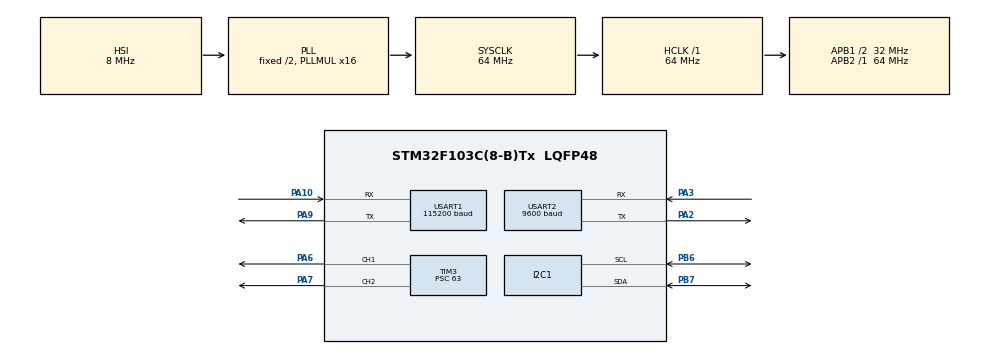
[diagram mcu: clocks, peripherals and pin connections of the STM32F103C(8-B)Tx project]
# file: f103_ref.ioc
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FREERTOS.Tasks01=defaultTask,24,256,StartDefaultTask,Default,NULL,Dynamic,NULL,NULL
FREERTOS.configTOTAL_HEAP_SIZE=8192
Mcu.Family=STM32F1
Mcu.Name=STM32F103C(8-B)Tx
Mcu.Package=LQFP48
NVIC.PriorityGroup=NVIC_PRIORITYGROUP_4
NVIC.TIM2_IRQn=true\:5\:0\:false\:false\:true\:false\:false\:true\:true
NVIC.TIM4_IRQn=true\:15\:0\:false\:false\:true\:false\:false\:true\:true
NVIC.TimeBase=TIM4_IRQn
NVIC.TimeBaseIP=TIM4
PA10.Mode=Asynchronous
PA10.Signal=USART1_RX
PA13.Mode=Serial_Wire
PA13.Signal=SYS_JTMS-SWDIO
PA14.Mode=Serial_Wire
PA14.Signal=SYS_JTCK-SWCLK
PA2.Mode=Asynchronous
PA2.Signal=USART2_TX
PA3.Mode=Asynchronous
PA3.Signal=USART2_RX
PA6.Signal=S_TIM3_CH1
PA7.Signal=S_TIM3_CH2
PA9.Mode=Asynchronous
PA9.Signal=USART1_TX
PB6.Mode=I2C
PB6.Signal=I2C1_SCL
PB7.Mode=I2C
PB7.Signal=I2C1_SDA
ProjectManager.HeapSize=0x200
ProjectManager.StackSize=0x400
ProjectManager.TargetToolchain=CMake
RCC.AHBFreq_Value=64000000
RCC.APB1CLKDivider=RCC_HCLK_DIV2
RCC.APB1Freq_Value=32000000
RCC.APB1TimFreq_Value=64000000
RCC.APB2Freq_Value=64000000
RCC.APB2TimFreq_Value=64000000
RCC.HCLKFreq_Value=64000000
RCC.PLLMUL=RCC_PLL_MUL16
RCC.PLLSourceVirtual=RCC_PLLSOURCE_HSI_DIV2
RCC.SYSCLKFreq_VALUE=64000000
RCC.SYSCLKSource=RCC_SYSCLKSOURCE_PLLCLK
RCC.USBFreq_Value=64000000
SH.S_TIM3_CH1.0=TIM3_CH1,PWM Generation1 CH1
SH.S_TIM3_CH2.0=TIM3_CH2,PWM Generation2 CH2
TIM2.Period=9999
TIM2.Prescaler=63
TIM3.Channel-PWM\ Generation1\ CH1=TIM_CHANNEL_1
TIM3.Channel-PWM\ Generation2\ CH2=TIM_CHANNEL_2
TIM3.Period=19999
TIM3.Prescaler=63
TIM3.Pulse-PWM\ Generation1\ CH1=1500
TIM3.Pulse-PWM\ Generation2\ CH2=1500
USART1.BaudRate=115200
USART1.VirtualMode=VM_ASYNC
USART2.BaudRate=9600
USART2.VirtualMode=VM_ASYNC
VP_FREERTOS_VS_CMSIS_V2.Mode=CMSIS_V2
VP_SYS_VS_tim4.Mode=TIM4
VP_TIM2_VS_ClockSourceINT.Mode=Internal
VP_TIM3_VS_ClockSourceINT.Mode=Internal
board=custom

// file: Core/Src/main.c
/* USER CODE BEGIN Header */
/**
  ******************************************************************************
  * @file           : main.c
  * @brief          : Main program body
  ******************************************************************************
  * @attention
  *
  * Copyright (c) 2026 STMicroelectronics.
  * All rights reserved.
  *
  * This software is licensed under terms that can be found in the LICENSE file
  * in the root directory of this software component.
  * If no LICENSE file comes with this software, it is provided AS-IS.
  *
  ******************************************************************************
  */
/* USER CODE END Header */
#include "main.h"
#include "cmsis_os.h"

/* USER CODE BEGIN Includes */
#include "gimbal_observe.h"
#include "gimbal_status.h"
#include "main.h"
#include "cmsis_os2.h"
#include "FreeRTOS.h"
#include "queue.h"
#include "module/gyro_bias.h"
#include "module/attitude.h"
#include "gimbal_control.h"
#include <stdio.h>
#include <math.h>
/* USER CODE END Includes */

/* USER CODE BEGIN PTD */
typedef struct {
    uint32_t state;
    uint32_t enabled;
    uint32_t ready;
    int32_t feedback_mdeg;
    uint32_t pulse_us;
    uint32_t last_fault;
} AxisReport;

typedef struct {
    uint32_t sample_ms;
    int32_t delta_mdeg;
    int32_t accel[3];
    int32_t rate_mdps[3];
} ImuJumpReport;

typedef struct {
    uint32_t count;
    uint32_t errors;
    uint32_t dt_min;
    uint32_t dt_max;
    uint32_t dt_bad_total;
    uint32_t dt_last_bad;
    uint32_t dt_bad_at_sample;
    uint32_t servo_state;
    uint32_t servo_pulse;
    uint32_t missed;
    uint32_t calibration_ready;
    uint32_t calibration_count;
    uint32_t attitude_status;
    int32_t angle_mdeg[3];
    int32_t bias[3];
    int32_t rate_mdeg[3];
    int32_t accel[3];
    int32_t gyro[3];
    AxisReport pitch_axis;
    AxisReport yaw_axis;
    uint32_t correction_gain_milli;
    uint32_t filter_status;
    uint32_t filter_count;
    uint32_t device_sample_ms;
    int32_t pitch_target_mdeg;
    uint32_t pitch_step_status;
    uint32_t pitch_target_apply_count;
    uint32_t pitch_target_apply_ms;
    int32_t yaw_target_mdeg;
    uint32_t yaw_target_apply_count;
    uint32_t yaw_target_apply_ms;
    ImuJumpReport jump;
} ImuReport;

typedef struct {
    uint32_t sample_ms;
    int16_t angle_cdeg[3];
    uint16_t sequence;
    uint8_t flags;
} FastReport;
/* USER CODE END PTD */

/* USER CODE BEGIN PD */
/* Pitch axis calibration, measured on the assembled gimbal:
   - 1500 us is the level position. The mechanical lower stop sits just
     below it, so never command less than GIMBAL_PITCH_ZERO_US.
   - 2500 us lifts the platform 84 deg; this is the conservative limit
     (the servo's nominal range ends here).
   - Effective gain above the ~100 us linkage slack: ~0.093 deg/us.
   - Servo dead band: ~20 us (~1.9 deg). */
#define GIMBAL_PITCH_ZERO_US  1500U
#define GIMBAL_PITCH_MAX_US   2500U
/* USER CODE END PD */

I2C_HandleTypeDef hi2c1;

TIM_HandleTypeDef htim2;
TIM_HandleTypeDef htim3;

UART_HandleTypeDef huart1;
UART_HandleTypeDef huart2;

/* Definitions for defaultTask */
osThreadId_t defaultTaskHandle;
const osThreadAttr_t defaultTask_attributes = {
  .name = "defaultTask",
  .stack_size = 256 * 4,
  .priority = (osPriority_t) osPriorityNormal,
};
/* USER CODE BEGIN PV */
extern UART_HandleTypeDef huart1;

extern I2C_HandleTypeDef hi2c1;
extern UART_HandleTypeDef huart2;

volatile uint8_t imu_id = 0xFFU;
volatile uint8_t imu_power = 0xFFU;
volatile uint32_t imu_init_status = HAL_ERROR;
volatile uint32_t imu_read_status = HAL_ERROR;
volatile uint32_t imu_sample_count = 0U;
volatile uint32_t imu_error_count = 0U;

volatile int32_t imu_ax, imu_ay, imu_az;
volatile int32_t imu_gx, imu_gy, imu_gz;

volatile uint32_t gimbal_heartbeat_count = 0U;
volatile uint32_t gimbal_tick_hz = 0U;

extern TIM_HandleTypeDef htim2;
extern TIM_HandleTypeDef htim3;

volatile uint32_t servo_test_allowed = 0U;
volatile uint32_t servo_test_state = GIMBAL_AXIS_IDLE;
volatile uint32_t servo_test_pulse = 1500U;

static osSemaphoreId_t sample_semaphore;
static QueueHandle_t report_queue;
static QueueHandle_t fast_queue;
volatile uint32_t fast_drop_count = 0U;
volatile uint32_t fast_sent_count = 0U;

static GyroBias gyro_calibration;

static Attitude attitude_state = {
    .correction_gain = 2.0F
};

volatile uint32_t sample_trigger_overflow = 0U;
volatile uint32_t report_drop_count = 0U;
/* Temporary fault injection: 0=none, 1=inhibit, 2=invalid dt. */
volatile uint32_t gimbal_test_fault = 0U;
volatile uint32_t imu_last_i2c_error = 0U;
/* Corrected gyro mean, unit: 0.001 degree/second. */
volatile int32_t gyro_mean_mdps[3] = {0, 0, 0};
volatile uint32_t gyro_mean_window_count = 0U;

volatile uint32_t gyro_recalibrate_request = 0U;
volatile uint32_t gyro_recalibration_status = 0U;

extern volatile uint32_t pitch_test_state;
extern volatile uint32_t pitch_zero_ready;
extern volatile uint32_t yaw_reference_ready;

static uint32_t gyro_mean_restart = 0U;
/* USER CODE END PV */

void SystemClock_Config(void);
static void MX_GPIO_Init(void);
static void MX_TIM2_Init(void);
static void MX_TIM3_Init(void);
static void MX_USART1_UART_Init(void);
static void MX_I2C1_Init(void);
static void MX_USART2_UART_Init(void);
void StartDefaultTask(void *argument);

/* USER CODE BEGIN PFP */
void run_f103_servo_demo(UART_HandleTypeDef* uart_handle,
                         TIM_HandleTypeDef* timer_handle);
void gimbal_sample_timer_irq(void);
static void GimbalTelemetryTask(void *argument);
void gimbal_servo_test_task(void *argument);
int gimbal_pitch_init(void);
void gimbal_pitch_tick(void *argument,
                       float roll_deg,
                       float dt_seconds);
void gimbal_yaw_tick(void *argument,
                     float yaw_deg,
                     float dt_seconds);
/* USER CODE END PFP */

/* USER CODE BEGIN 0 */
/* MPU6050 的原始数据是 16 位有符号、大端 */
static int32_t imu_decode_be(const uint8_t *bytes)
{
    uint32_t value = ((uint32_t)bytes[0] << 8) | bytes[1];

    return value >= 32768U
        ? (int32_t)value - 65536
        : (int32_t)value;
}
/* USER CODE END 0 */

int main(void)
{

  /* MCU Configuration--------------------------------------------------------*/

  /* Reset of all peripherals, Initializes the Flash interface and the Systick. */
  HAL_Init();

  /* Configure the system clock */
  SystemClock_Config();

  /* Initialize all configured peripherals */
  MX_GPIO_Init();
  MX_TIM2_Init();
  MX_TIM3_Init();
  MX_USART1_UART_Init();
  MX_I2C1_Init();
  MX_USART2_UART_Init();

  /* Init scheduler */
  osKernelInitialize();

  /* Create the thread(s) */
  /* creation of defaultTask */
  defaultTaskHandle = osThreadNew(StartDefaultTask, NULL, &defaultTask_attributes);

  /* Start scheduler */
  osKernelStart();

  /* We should never get here as control is now taken by the scheduler */

  /* Infinite loop */
  while (1)
  {

  }
}

void SystemClock_Config(void)
{
  RCC_OscInitTypeDef RCC_OscInitStruct = {0};
  RCC_ClkInitTypeDef RCC_ClkInitStruct = {0};

  /** Initializes the RCC Oscillators according to the specified parameters
  * in the RCC_OscInitTypeDef structure.
  */
  RCC_OscInitStruct.OscillatorType = RCC_OSCILLATORTYPE_HSI;
  RCC_OscInitStruct.HSIState = RCC_HSI_ON;
  RCC_OscInitStruct.HSICalibrationValue = RCC_HSICALIBRATION_DEFAULT;
  RCC_OscInitStruct.PLL.PLLState = RCC_PLL_ON;
  RCC_OscInitStruct.PLL.PLLSource = RCC_PLLSOURCE_HSI_DIV2;
  RCC_OscInitStruct.PLL.PLLMUL = RCC_PLL_MUL16;
  if (HAL_RCC_OscConfig(&RCC_OscInitStruct) != HAL_OK)
  {
    Error_Handler();
  }

  /** Initializes the CPU, AHB and APB buses clocks
  */
  RCC_ClkInitStruct.ClockType = RCC_CLOCKTYPE_HCLK|RCC_CLOCKTYPE_SYSCLK
                              |RCC_CLOCKTYPE_PCLK1|RCC_CLOCKTYPE_PCLK2;
  RCC_ClkInitStruct.SYSCLKSource = RCC_SYSCLKSOURCE_PLLCLK;
  RCC_ClkInitStruct.AHBCLKDivider = RCC_SYSCLK_DIV1;
  RCC_ClkInitStruct.APB1CLKDivider = RCC_HCLK_DIV2;
  RCC_ClkInitStruct.APB2CLKDivider = RCC_HCLK_DIV1;

  if (HAL_RCC_ClockConfig(&RCC_ClkInitStruct, FLASH_LATENCY_2) != HAL_OK)
  {
    Error_Handler();
  }
}

static void MX_I2C1_Init(void)
{

  hi2c1.Instance = I2C1;
  hi2c1.Init.ClockSpeed = 100000;
  hi2c1.Init.DutyCycle = I2C_DUTYCYCLE_2;
  hi2c1.Init.OwnAddress1 = 0;
  hi2c1.Init.AddressingMode = I2C_ADDRESSINGMODE_7BIT;
  hi2c1.Init.DualAddressMode = I2C_DUALADDRESS_DISABLE;
  hi2c1.Init.OwnAddress2 = 0;
  hi2c1.Init.GeneralCallMode = I2C_GENERALCALL_DISABLE;
  hi2c1.Init.NoStretchMode = I2C_NOSTRETCH_DISABLE;
  if (HAL_I2C_Init(&hi2c1) != HAL_OK)
  {
    Error_Handler();
  }

}

static void MX_TIM2_Init(void)
{

  TIM_ClockConfigTypeDef sClockSourceConfig = {0};
  TIM_MasterConfigTypeDef sMasterConfig = {0};

  htim2.Instance = TIM2;
  htim2.Init.Prescaler = 63;
  htim2.Init.CounterMode = TIM_COUNTERMODE_UP;
  htim2.Init.Period = 9999;
  htim2.Init.ClockDivision = TIM_CLOCKDIVISION_DIV1;
  htim2.Init.AutoReloadPreload = TIM_AUTORELOAD_PRELOAD_DISABLE;
  if (HAL_TIM_Base_Init(&htim2) != HAL_OK)
  {
    Error_Handler();
  }
  sClockSourceConfig.ClockSource = TIM_CLOCKSOURCE_INTERNAL;
  if (HAL_TIM_ConfigClockSource(&htim2, &sClockSourceConfig) != HAL_OK)
  {
    Error_Handler();
  }
  sMasterConfig.MasterOutputTrigger = TIM_TRGO_RESET;
  sMasterConfig.MasterSlaveMode = TIM_MASTERSLAVEMODE_DISABLE;
  if (HAL_TIMEx_MasterConfigSynchronization(&htim2, &sMasterConfig) != HAL_OK)
  {
    Error_Handler();
  }

}

static void MX_TIM3_Init(void)
{

  TIM_ClockConfigTypeDef sClockSourceConfig = {0};
  TIM_MasterConfigTypeDef sMasterConfig = {0};
  TIM_OC_InitTypeDef sConfigOC = {0};

  htim3.Instance = TIM3;
  htim3.Init.Prescaler = 63;
  htim3.Init.CounterMode = TIM_COUNTERMODE_UP;
  htim3.Init.Period = 19999;
  htim3.Init.ClockDivision = TIM_CLOCKDIVISION_DIV1;
  htim3.Init.AutoReloadPreload = TIM_AUTORELOAD_PRELOAD_DISABLE;
  if (HAL_TIM_Base_Init(&htim3) != HAL_OK)
  {
    Error_Handler();
  }
  sClockSourceConfig.ClockSource = TIM_CLOCKSOURCE_INTERNAL;
  if (HAL_TIM_ConfigClockSource(&htim3, &sClockSourceConfig) != HAL_OK)
  {
    Error_Handler();
  }
  if (HAL_TIM_PWM_Init(&htim3) != HAL_OK)
  {
    Error_Handler();
  }
  sMasterConfig.MasterOutputTrigger = TIM_TRGO_RESET;
  sMasterConfig.MasterSlaveMode = TIM_MASTERSLAVEMODE_DISABLE;
  if (HAL_TIMEx_MasterConfigSynchronization(&htim3, &sMasterConfig) != HAL_OK)
  {
    Error_Handler();
  }
  sConfigOC.OCMode = TIM_OCMODE_PWM1;
  sConfigOC.Pulse = 1500;
  sConfigOC.OCPolarity = TIM_OCPOLARITY_HIGH;
  sConfigOC.OCFastMode = TIM_OCFAST_DISABLE;
  if (HAL_TIM_PWM_ConfigChannel(&htim3, &sConfigOC, TIM_CHANNEL_1) != HAL_OK)
  {
    Error_Handler();
  }
  if (HAL_TIM_PWM_ConfigChannel(&htim3, &sConfigOC, TIM_CHANNEL_2) != HAL_OK)
  {
    Error_Handler();
  }
  HAL_TIM_MspPostInit(&htim3);

}

static void MX_USART1_UART_Init(void)
{

  huart1.Instance = USART1;
  huart1.Init.BaudRate = 115200;
  huart1.Init.WordLength = UART_WORDLENGTH_8B;
  huart1.Init.StopBits = UART_STOPBITS_1;
  huart1.Init.Parity = UART_PARITY_NONE;
  huart1.Init.Mode = UART_MODE_TX_RX;
  huart1.Init.HwFlowCtl = UART_HWCONTROL_NONE;
  huart1.Init.OverSampling = UART_OVERSAMPLING_16;
  if (HAL_UART_Init(&huart1) != HAL_OK)
  {
    Error_Handler();
  }

}

static void MX_USART2_UART_Init(void)
{

  huart2.Instance = USART2;
  huart2.Init.BaudRate = 9600;
  huart2.Init.WordLength = UART_WORDLENGTH_8B;
  huart2.Init.StopBits = UART_STOPBITS_1;
  huart2.Init.Parity = UART_PARITY_NONE;
  huart2.Init.Mode = UART_MODE_TX_RX;
  huart2.Init.HwFlowCtl = UART_HWCONTROL_NONE;
  huart2.Init.OverSampling = UART_OVERSAMPLING_16;
  if (HAL_UART_Init(&huart2) != HAL_OK)
  {
    Error_Handler();
  }

}

static void MX_GPIO_Init(void)
{

  /* GPIO Ports Clock Enable */
  __HAL_RCC_GPIOA_CLK_ENABLE();
  __HAL_RCC_GPIOB_CLK_ENABLE();

}

/* USER CODE BEGIN 4 */
void gimbal_sample_timer_irq(void)
{
    if (sample_semaphore != NULL) {
        if (osSemaphoreRelease(sample_semaphore) != osOK) {
            ++sample_trigger_overflow;
        }
    }
}

static void telemetry_send(uint8_t *data, uint16_t length)
{
    HAL_StatusTypeDef tx = HAL_BUSY;
    for (unsigned attempt = 0U; attempt < 5U; ++attempt) {
        tx = HAL_UART_Transmit(&huart2, data, length, 1000U);
        if (tx != HAL_BUSY) {
            break;
        }
        (void)osDelay(5U);
    }
    if (tx != HAL_OK) {
        Error_Handler();
    }
}

static void fast_put_le(uint8_t *out, uint32_t value,
                        unsigned width)
{
    for (unsigned i = 0U; i < width; ++i) {
        out[i] = (uint8_t)(value >> (8U * i));
    }
}

static void telemetry_send_fast(const FastReport *frame)
{
    uint8_t packet[18] = {0xA5U, 0x5AU, 1U};
    packet[3] = frame->flags;
    fast_put_le(packet + 4, frame->sequence, 2U);
    fast_put_le(packet + 6, frame->sample_ms, 4U);

    for (unsigned i = 0U; i < 3U; ++i) {
        fast_put_le(packet + 10U + i * 2U,
                    (uint16_t)frame->angle_cdeg[i], 2U);
    }

    uint16_t crc = 0xFFFFU;
    for (unsigned i = 0U; i < 16U; ++i) {
        crc ^= (uint16_t)((uint16_t)packet[i] << 8);
        for (unsigned bit = 0U; bit < 8U; ++bit) {
            if ((crc & 0x8000U) != 0U) {
                crc = (uint16_t)((crc << 1) ^ 0x1021U);
            } else {
                crc = (uint16_t)(crc << 1);
            }
        }
    }

    fast_put_le(packet + 16, crc, 2U);
    telemetry_send(packet, sizeof(packet));
    ++fast_sent_count;
}

static void GimbalTelemetryTask(void *argument)
{
    (void)argument;
    ImuReport report;
    FastReport fast;
    char line[640];

    for (;;) {
        if (xQueueReceive(fast_queue, &fast,
                          portMAX_DELAY) != pdPASS) {
            Error_Handler();
        }
        telemetry_send_fast(&fast);

        if (xQueueReceive(report_queue, &report, 0U) != pdPASS) {
            continue;
        }

        int length = snprintf(
            line, sizeof(line),
            "N=%lu T=%lu ERR=%lu DT=%lu..%lu MISS=%lu "
            "BAD=%lu LAST=%lu AT=%lu "
            "SV=%lu US=%lu CAL=%lu ATT=%lu "
            "RPY=%ld,%ld,%ld "
            "P=%lu,%lu,%lu,%ld,%lu,%lu "
            "Y=%lu,%lu,%lu,%ld,%lu,%lu "
            "K=%lu KS=%lu,%lu PT=%ld PS=%lu,%lu,%lu "
            "J=%lu,%ld,%ld,%ld,%ld,%ld,%ld,%ld "
            "YT=%ld YA=%lu\r\n",
            (unsigned long)report.count,
            (unsigned long)report.device_sample_ms,
            (unsigned long)report.errors,
            (unsigned long)report.dt_min,
            (unsigned long)report.dt_max,
            (unsigned long)report.missed,
            (unsigned long)report.dt_bad_total,
            (unsigned long)report.dt_last_bad,
            (unsigned long)report.dt_bad_at_sample,
            (unsigned long)report.servo_state,
            (unsigned long)report.servo_pulse,
            (unsigned long)report.calibration_ready,
            (unsigned long)report.attitude_status,
            (long)report.angle_mdeg[0],
            (long)report.angle_mdeg[1],
            (long)report.angle_mdeg[2],
            (unsigned long)report.pitch_axis.state,
            (unsigned long)report.pitch_axis.enabled,
            (unsigned long)report.pitch_axis.ready,
            (long)report.pitch_axis.feedback_mdeg,
            (unsigned long)report.pitch_axis.pulse_us,
            (unsigned long)report.pitch_axis.last_fault,
            (unsigned long)report.yaw_axis.state,
            (unsigned long)report.yaw_axis.enabled,
            (unsigned long)report.yaw_axis.ready,
            (long)report.yaw_axis.feedback_mdeg,
            (unsigned long)report.yaw_axis.pulse_us,
            (unsigned long)report.yaw_axis.last_fault,
            (unsigned long)report.correction_gain_milli,
            (unsigned long)report.filter_status,
            (unsigned long)report.filter_count,
            (long)report.pitch_target_mdeg,
            (unsigned long)report.pitch_step_status,
            (unsigned long)report.pitch_target_apply_count,
            (unsigned long)report.pitch_target_apply_ms,
            (unsigned long)report.jump.sample_ms,
            (long)report.jump.delta_mdeg,
            (long)report.jump.rate_mdps[0],
            (long)report.jump.rate_mdps[1],
            (long)report.jump.rate_mdps[2],
            (long)report.jump.accel[0],
            (long)report.jump.accel[1],
            (long)report.jump.accel[2],
            (long)report.yaw_target_mdeg,
            (unsigned long)report.yaw_target_apply_count);

        if (length <= 0 || length >= (int)sizeof(line)) {
            Error_Handler();
        }
        telemetry_send((uint8_t *)line, (uint16_t)length);
    }
}
/* USER CODE END 4 */

void StartDefaultTask(void *argument)
{
    (void)argument;
    const uint16_t address = 0x68U << 1;
    uint8_t id = 0xFFU;
    uint8_t power = 0xFFU;
    uint8_t wake = 0x00U;
    uint8_t raw[14];
    uint32_t report_divider = 0U;
    uint32_t sample_time_ms = 0U;
    uint32_t fast_divider = 0U;
    uint16_t fast_sequence = 0U;
    ImuJumpReport jump_report = {0};
    uint32_t previous_tick = 0U;
    uint32_t dt_min = UINT32_MAX;
    uint32_t dt_max = 0U;
    uint32_t dt_bad_total = 0U;
    uint32_t dt_last_bad = 0U;
    uint32_t dt_bad_at_sample = 0U;
    uint8_t have_previous_tick = 0U;
    const uint32_t imu_warmup_start_tick =
        osKernelGetTickCount();

    gimbal_tick_hz = osKernelGetTickFreq();
    if (gimbal_tick_hz != 1000U) {
        Error_Handler();
    }

    osDelay(100U);
    HAL_StatusTypeDef status = HAL_I2C_Mem_Read(
        &hi2c1, address, 0x75U, I2C_MEMADD_SIZE_8BIT,
        &id, 1U, 20U);
    imu_id = id;

    if (status == HAL_OK && (id == 0x68U || id == 0x74U)) {
        status = HAL_I2C_Mem_Write(
            &hi2c1, address, 0x6BU, I2C_MEMADD_SIZE_8BIT,
            &wake, 1U, 20U);
        if (status == HAL_OK) {
            osDelay(100U);
            status = HAL_I2C_Mem_Read(
                &hi2c1, address, 0x6BU, I2C_MEMADD_SIZE_8BIT,
                &power, 1U, 20U);
        }
    } else {
        status = HAL_ERROR;
    }

    imu_power = power;
    imu_init_status = status;
    const uint8_t ready =
        status == HAL_OK && (power & 0x40U) == 0U;

    if (!ready) {
        Error_Handler();
    }

    const uint8_t registers[] = {0x1BU, 0x1CU, 0x6CU};

    for (unsigned i = 0U; i < sizeof(registers); ++i) {
        uint8_t value = 0x00U;
        uint8_t readback = 0xFFU;

        if (HAL_I2C_Mem_Write(
                &hi2c1, address, registers[i],
                I2C_MEMADD_SIZE_8BIT, &value, 1U, 20U) != HAL_OK) {
            Error_Handler();
        }

        if (HAL_I2C_Mem_Read(
                &hi2c1, address, registers[i],
                I2C_MEMADD_SIZE_8BIT, &readback, 1U, 20U) != HAL_OK
            || readback != value) {
            Error_Handler();
        }
    }

    osDelay(100U);

    sample_semaphore = osSemaphoreNew(1U, 0U, NULL);
    report_queue = xQueueCreate(2U, sizeof(ImuReport));
    fast_queue = xQueueCreate(16U, sizeof(FastReport));

    if (sample_semaphore == NULL || report_queue == NULL ||
        fast_queue == NULL) {
        Error_Handler();
    }

    const osThreadAttr_t telemetry_attributes = {
        .name = "gimbal_telemetry",
        .stack_size = 2048U,
        .priority = osPriorityLow
    };

    if (osThreadNew(GimbalTelemetryTask, NULL,
                    &telemetry_attributes) == NULL) {
        Error_Handler();
    }

    if (!gimbal_pitch_init()) {
        Error_Handler();
    }

    const osThreadAttr_t servo_test_attributes = {
        .name = "servo_test",
        .stack_size = 1024U,
        /* Must stay below the telemetry task: HAL_UART_Receive busy-waits
           and would otherwise starve it. */
        .priority = osPriorityIdle
    };

    if (osThreadNew(gimbal_servo_test_task, &htim3,
                    &servo_test_attributes) == NULL) {
        Error_Handler();
    }

    __HAL_TIM_SET_COUNTER(&htim2, 0U);
    __HAL_TIM_CLEAR_FLAG(&htim2, TIM_FLAG_UPDATE);

    if (HAL_TIM_Base_Start_IT(&htim2) != HAL_OK) {
        Error_Handler();
    }

    for (;;) {
        if (osSemaphoreAcquire(
                sample_semaphore, osWaitForever) != osOK) {
            Error_Handler();
        }

        uint32_t now = osKernelGetTickCount();
        const uint32_t elapsed_ticks =
            have_previous_tick ? now - previous_tick : 10U;
        if (have_previous_tick) {
            uint32_t dt = now - previous_tick;

            if (dt < dt_min) dt_min = dt;
            if (dt > dt_max) dt_max = dt;

            if (dt != 10U) {
                ++dt_bad_total;
                dt_last_bad = dt;
                dt_bad_at_sample = imu_sample_count + 1U;
            }
        }
        previous_tick = now;
        have_previous_tick = 1U;

        if (gyro_recalibrate_request) {
            gyro_recalibrate_request = 0U;

            if (pitch_test_state == GIMBAL_AXIS_RUNNING ||
                servo_test_state == GIMBAL_AXIS_RUNNING) {
                gyro_recalibration_status = 2U;
            } else if ((uint32_t)(
                    osKernelGetTickCount() - imu_warmup_start_tick)
                    < 30U * gimbal_tick_hz) {
                gyro_recalibration_status = 3U;
            } else {
                gyro_bias_reset(&gyro_calibration);
                const float preserved_gain =
                    attitude_state.correction_gain;

                attitude_state =
                    (Attitude){.correction_gain = preserved_gain};

                pitch_zero_ready = 0U;
                yaw_reference_ready = 0U;
                gyro_mean_restart = 1U;
                gyro_mean_window_count = 0U;
                gyro_mean_mdps[0] = 0;
                gyro_mean_mdps[1] = 0;
                gyro_mean_mdps[2] = 0;

                gyro_recalibration_status = 4U;
            }
        }

        uint32_t requested_gain_milli = 0U;
        const int parameter_rx =
            gimbal_filter_take_request(&requested_gain_milli);

        if (parameter_rx < 0) {
            filter_apply_status = GIMBAL_PARAM_TRANSPORT_ERROR;
        } else if (parameter_rx > 0) {
            if (requested_gain_milli > 20000U) {
                filter_apply_status = GIMBAL_PARAM_OUT_OF_RANGE;
            } else if (!gyro_calibration.ready ||
                       attitude_state.status != 1U) {
                filter_apply_status = GIMBAL_PARAM_NOT_READY;
            } else {
                attitude_state.correction_gain =
                    requested_gain_milli / 1000.0F;
                ++filter_apply_count;
                filter_apply_status = GIMBAL_PARAM_APPLIED;
            }
        }

        uint16_t sample_address = address;

#if GIMBAL_ENABLE_FAULT_INJECTION
        if (gimbal_test_fault == 3U) {
            sample_address = 0x67U << 1;
        }
#endif

        const uint32_t read_started_ms = osKernelGetTickCount();

        imu_read_status = HAL_I2C_Mem_Read(
            &hi2c1, sample_address, 0x3BU, I2C_MEMADD_SIZE_8BIT,
            raw, sizeof(raw), 20U);

        if (imu_read_status == HAL_OK) {
            sample_time_ms = read_started_ms;

            imu_ax = imu_decode_be(raw);
            imu_ay = imu_decode_be(raw + 2);
            imu_az = imu_decode_be(raw + 4);
            imu_gx = imu_decode_be(raw + 8);
            imu_gy = imu_decode_be(raw + 10);
            imu_gz = imu_decode_be(raw + 12);
            ++imu_sample_count;

            const int32_t accel[3] = {imu_ax, imu_ay, imu_az};
            const int32_t gyro[3] = {imu_gx, imu_gy, imu_gz};

            gyro_bias_update(&gyro_calibration, accel, gyro);

            if (gyro_calibration.ready) {
                const float accel_g[3] = {
                    imu_ax / 16384.0F,
                    imu_ay / 16384.0F,
                    imu_az / 16384.0F
                };
                const float gyro_dps[3] = {
                    (imu_gx - gyro_calibration.mean[0]) / 131.0F,
                    (imu_gy - gyro_calibration.mean[1]) / 131.0F,
                    (imu_gz - gyro_calibration.mean[2]) / 131.0F
                };

                static float gyro_sum_dps[3] = {0};
                static uint32_t gyro_mean_samples = 0U;

                if (gyro_mean_restart) {
                    gyro_sum_dps[0] = 0.0F;
                    gyro_sum_dps[1] = 0.0F;
                    gyro_sum_dps[2] = 0.0F;
                    gyro_mean_samples = 0U;
                    gyro_mean_restart = 0U;
                }

                for (unsigned axis = 0U; axis < 3U; ++axis) {
                    gyro_sum_dps[axis] += gyro_dps[axis];
                }

                if (++gyro_mean_samples >= 1000U) {
                    for (unsigned axis = 0U; axis < 3U; ++axis) {
                        /* 1000 samples: mean * 1000 = sum. */
                        gyro_mean_mdps[axis] =
                            (int32_t)gyro_sum_dps[axis];
                        gyro_sum_dps[axis] = 0.0F;
                    }
                    gyro_mean_samples = 0U;
                    ++gyro_mean_window_count;
                }

                const uint32_t was_valid =
                    attitude_state.status == 1U;
                const float previous_roll = attitude_state.roll;

                attitude_update(
                    &attitude_state, accel_g, gyro_dps,
                    elapsed_ticks / (float)gimbal_tick_hz);

                if (was_valid && attitude_state.status == 1U) {
                    float delta =
                        attitude_state.roll - previous_roll;
                    if (delta > 180.0F) delta -= 360.0F;
                    if (delta < -180.0F) delta += 360.0F;

                    const int32_t change_mdeg =
                        (int32_t)lroundf(delta * 1000.0F);

                    if (fabsf((float)change_mdeg) >
                        fabsf((float)jump_report.delta_mdeg)) {
                        jump_report.sample_ms = sample_time_ms;
                        jump_report.delta_mdeg = change_mdeg;

                        for (unsigned i = 0U; i < 3U; ++i) {
                            jump_report.accel[i] = accel[i];
                            jump_report.rate_mdps[i] =
                                (int32_t)lroundf(
                                    gyro_dps[i] * 1000.0F);
                        }
                    }
                }
            }
        } else {
            ++imu_error_count;
            imu_last_i2c_error = hi2c1.ErrorCode;

            if (!gyro_calibration.ready) {
                gyro_bias_reset(&gyro_calibration);
            }

            if (attitude_state.status == 1U) {
                attitude_state.status = 2U;
            }
        }

        if (gyro_recalibration_status == 4U &&
            gyro_calibration.ready) {
            gyro_recalibration_status = 5U;
        }

        servo_test_allowed =
            gyro_calibration.ready &&
            attitude_state.status == 1U &&
            imu_read_status == HAL_OK &&
            sample_trigger_overflow == 0U;

#if GIMBAL_ENABLE_FAULT_INJECTION
        servo_test_allowed =
            servo_test_allowed && gimbal_test_fault != 1U;
#endif

        /* P-axis PWM has one owner: this 100 Hz sampling task. */
        float control_dt =
            elapsed_ticks / (float)gimbal_tick_hz;

#if GIMBAL_ENABLE_FAULT_INJECTION
        if (gimbal_test_fault == 2U) {
            control_dt = 0.030F;
        }
#endif

        gimbal_pitch_tick(
            &htim3, attitude_state.roll, control_dt);
        gimbal_yaw_tick(
            &htim3, attitude_state.yaw, control_dt);

        if (++fast_divider >= 5U) {
            fast_divider = 0U;

            if (imu_read_status == HAL_OK) {
                const uint8_t valid =
                    gyro_calibration.ready != 0U &&
                    attitude_state.status == 1U &&
                    attitude_state.roll >= -180.0F &&
                    attitude_state.roll <= 180.0F &&
                    attitude_state.pitch >= -90.0F &&
                    attitude_state.pitch <= 90.0F &&
                    attitude_state.yaw >= -180.0F &&
                    attitude_state.yaw <= 180.0F;

                FastReport fast = {
                    .sample_ms = sample_time_ms,
                    .angle_cdeg = {0, 0, 0},
                    .sequence = fast_sequence++,
                    .flags = (uint8_t)(
                        (gyro_calibration.ready ? 1U : 0U) |
                        (valid ? 2U : 0U))
                };

                if (valid) {
                    fast.angle_cdeg[0] =
                        (int16_t)(attitude_state.roll * 100.0F);
                    fast.angle_cdeg[1] =
                        (int16_t)(attitude_state.pitch * 100.0F);
                    fast.angle_cdeg[2] =
                        (int16_t)(attitude_state.yaw * 100.0F);
                }

                if (xQueueSend(fast_queue, &fast, 0U) != pdPASS) {
                    ++fast_drop_count;
                }
            }
        }

        if (++report_divider >= 100U) {
            report_divider = 0U;
            ImuReport report = {
                .count = imu_sample_count,
                .errors = imu_error_count,
                .dt_min = dt_min,
                .dt_max = dt_max,
                .dt_bad_total = dt_bad_total,
                .dt_last_bad = dt_last_bad,
                .dt_bad_at_sample = dt_bad_at_sample,
                .servo_state = servo_test_state,
                .servo_pulse = servo_test_pulse,
                .missed = sample_trigger_overflow,
                .calibration_ready = gyro_calibration.ready,
                .calibration_count = gyro_calibration.count,
                .attitude_status = attitude_state.status,
                .angle_mdeg = {
                    (int32_t)(attitude_state.roll * 1000.0F),
                    (int32_t)(attitude_state.pitch * 1000.0F),
                    (int32_t)(attitude_state.yaw * 1000.0F)
                },
                .bias = {
                    (int32_t)gyro_calibration.mean[0],
                    (int32_t)gyro_calibration.mean[1],
                    (int32_t)gyro_calibration.mean[2]
                },
                .rate_mdeg = {
                    gyro_bias_rate_mdeg(&gyro_calibration, 0U, imu_gx),
                    gyro_bias_rate_mdeg(&gyro_calibration, 1U, imu_gy),
                    gyro_bias_rate_mdeg(&gyro_calibration, 2U, imu_gz)
                },
                .accel = {imu_ax, imu_ay, imu_az},
                .gyro = {imu_gx, imu_gy, imu_gz},
                .pitch_axis = {
                    .state = pitch_test_state,
                    .enabled = pitch_closed_loop_enabled,
                    .ready = pitch_zero_ready,
                    .feedback_mdeg = pitch_feedback_mdeg,
                    .pulse_us = pitch_test_pulse,
                    .last_fault = pitch_last_fault
                },
                .yaw_axis = {
                    .state = servo_test_state,
                    .enabled = yaw_closed_loop_enabled,
                    .ready = yaw_reference_ready,
                    .feedback_mdeg = yaw_feedback_mdeg,
                    .pulse_us = servo_test_pulse,
                    .last_fault = yaw_last_fault
                },
                .correction_gain_milli =
                    attitude_state.correction_gain >= 0.0F &&
                    attitude_state.correction_gain <= 20.0F
                    ? (uint32_t)(
                        attitude_state.correction_gain * 1000.0F
                        + 0.5F)
                    : UINT32_MAX,
                .filter_status = filter_apply_status,
                .filter_count = filter_apply_count,
                .device_sample_ms = sample_time_ms,
                .pitch_target_mdeg = pitch_target_mdeg,
                .pitch_step_status = pitch_step_status,
                .pitch_target_apply_count =
                    pitch_target_apply_count,
                .pitch_target_apply_ms = pitch_target_apply_ms,
                .yaw_target_mdeg = yaw_target_mdeg,
                .yaw_target_apply_count = yaw_target_apply_count,
                .yaw_target_apply_ms = yaw_target_apply_ms,
                .jump = jump_report
            };

            if (xQueueSend(report_queue, &report, 0U) != pdPASS) {
                ++report_drop_count;
            }

            jump_report = (ImuJumpReport){0};

            dt_min = UINT32_MAX;
            dt_max = 0U;
        }
    }
}

void HAL_TIM_PeriodElapsedCallback(TIM_HandleTypeDef *htim)
{
  if (htim->Instance == TIM4)
  {
    HAL_IncTick();
  }
  /* USER CODE BEGIN Callback 1 */
  if (htim->Instance == TIM2)
  {
    gimbal_sample_timer_irq();
  }

  /* USER CODE END Callback 1 */
}

void Error_Handler(void)
{
  __disable_irq();
  while (1)
  {
  }
}
